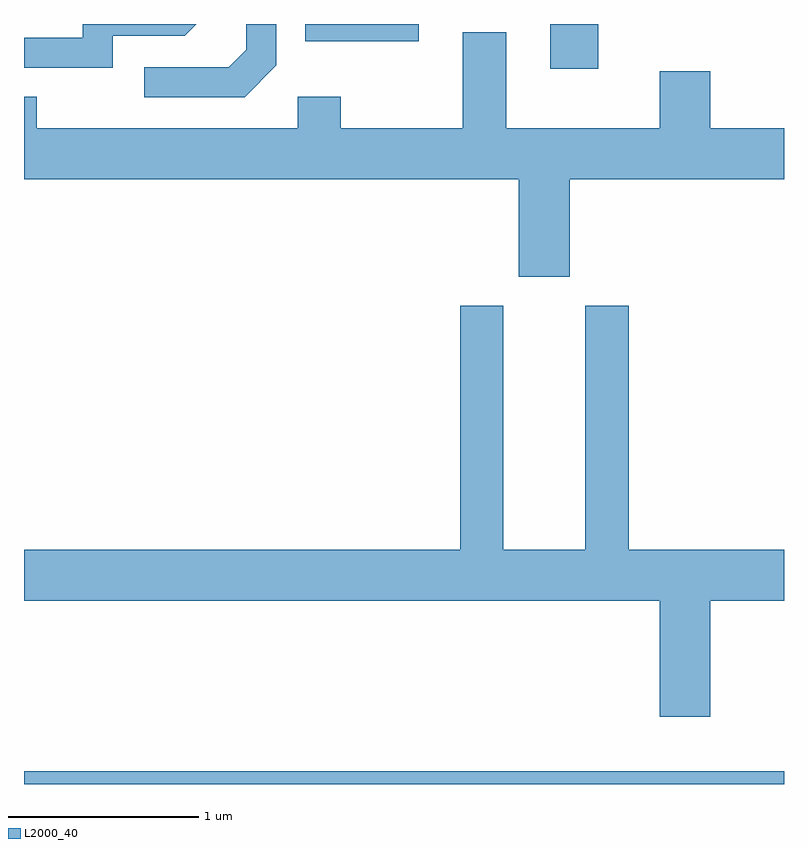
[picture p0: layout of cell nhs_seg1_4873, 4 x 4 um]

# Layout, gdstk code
import gdstk
lib = gdstk.Library(unit=1e-6, precision=1e-09)
def R(c, l, rs):  # rectangles x0, y0, x1, y1
    for r in rs: c.add(gdstk.rectangle(r[:2], r[2:], *l))
def P(c, l, *ps):  # polygons
    for p in ps: c.add(gdstk.Polygon(p, *l))
L2000_40 = (2000, 40)

nhs_seg1_4873 = lib.new_cell('nhs_seg1_4873')
R(nhs_seg1_4873, L2000_40, [(331.611,909.712,335.611,909.779), (334.381,913.476,334.634,913.712), (333.091,913.621,333.689,913.712)])
P(nhs_seg1_4873, L2000_40, [(332.079,913.651),(332.457,913.651),(332.518,913.712),(331.921,913.712),(331.921,913.639),(331.611,913.639),(331.611,913.481),(332.079,913.481)],
  [(332.939,913.494),(332.939,913.712),(332.781,913.712),(332.781,913.577),(332.689,913.484),(332.243,913.484),(332.243,913.326),(332.772,913.326)],
  [(334.484,912.896),(335.611,912.896),(335.611,913.164),(335.224,913.164),(335.224,913.464),(334.956,913.464),(334.956,913.164),(334.149,913.164),(334.149,913.669),(333.921,913.669),(333.921,913.164),(333.279,913.164),(333.279,913.329),(333.051,913.329),(333.051,913.164),(331.679,913.164),(331.679,913.329),(331.611,913.329),(331.611,912.896),(334.216,912.896),(334.216,912.381),(334.484,912.381)],
  [(335.224,910.676),(335.611,910.676),(335.611,910.944),(334.794,910.944),(334.794,912.229),(334.566,912.229),(334.566,910.944),(334.134,910.944),(334.134,912.229),(333.906,912.229),(333.906,910.944),(331.611,910.944),(331.611,910.676),(334.956,910.676),(334.956,910.066),(335.224,910.066)])

lib.write_gds('nhs_seg1_4873.gds')
